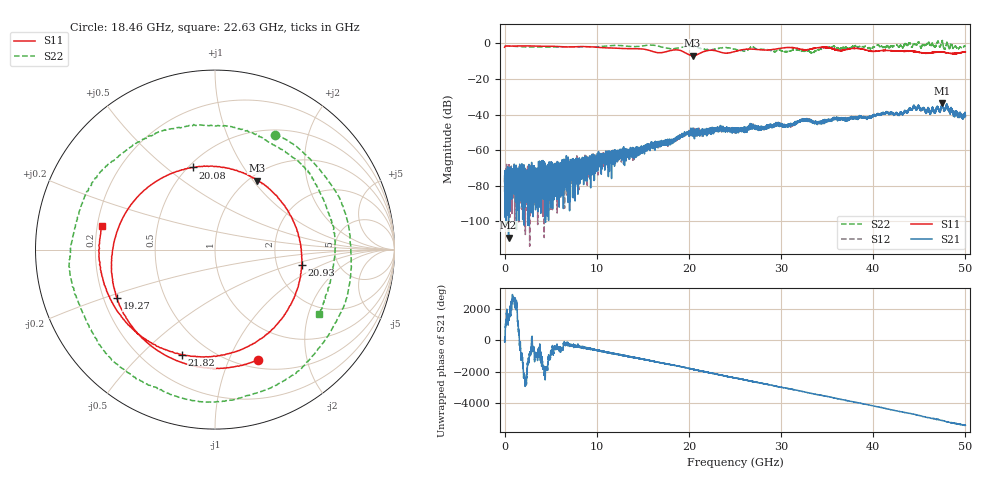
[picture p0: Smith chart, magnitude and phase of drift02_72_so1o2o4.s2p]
!Created with skrf (http://scikit-rf.org).
# Hz S RI R 50.0
!freq ReS11 ImS11 ReS21 ImS21 ReS12 ImS12 ReS22 ImS22
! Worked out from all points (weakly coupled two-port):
!   10000 points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, 5.3 MHz to 50 GHz, reference 50 ohm
!   highest |S21| = -33.53 dB at 47.51 GHz (marker M1); lowest = -109.2 dB at 435.3 MHz (marker M2)
!   lowest |S11| = -6.9 dB at 20.41 GHz (marker M3), VSWR 2.64, Z = 54.2 + j52.3 ohm
!   |S11| at or under -10 dB: nowhere
!   |S22| runs from -5.3 to 1.7 dB; largest |S21 - S12| = 0.0031
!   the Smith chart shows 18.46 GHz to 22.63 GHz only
!   S11 on the Smith chart (normalised r, x): 18.46 GHz: 0.59, -1.28; 19.27 GHz: 0.26, -0.22; 20.08 GHz: 0.53, +0.62; 20.93 GHz: 2.75, -0.63; 21.82 GHz: 0.36, -0.67; 22.63 GHz: 0.22, +0.10
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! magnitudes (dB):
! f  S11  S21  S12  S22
! 5.3 MHz  -2.1  -74.6  -83.4  -1.3
! 435.3 MHz  -1.4  -109.2  -83.5  -1.4
! 4.335 GHz  -1.6  -72.4  -74.1  -2.0
! 5.45 GHz  -1.6  -72.7  -76.7  -2.0
! 6.65 GHz  -1.9  -69.5  -78.7  -1.9
! 8.34 GHz  -1.7  -75.3  -68.5  -1.9
! 16.67 GHz  -5.2  -56.8  -55.7  -1.5
! 18.46 GHz  -3.6  -54.6  -54.4  -2.8
! 19.27 GHz  -4.3  -51.5  -51.4  -2.1
! 20.08 GHz  -6.5  -49.1  -50.5  -1.5
! 20.41 GHz  -6.9  -49.3  -49.1  -1.7
! 20.93 GHz  -6.2  -50.5  -49.3  -2.2
! 21.82 GHz  -4.2  -49.9  -50.6  -3.5
! 22.63 GHz  -3.8  -48.1  -49.1  -3.3
! 25.01 GHz  -4.5  -48.6  -47.7  -3.2
! 26.11 GHz  -3.3  -47.3  -48.2  -4.3
! 26.9 GHz  -3.2  -46.3  -46.3  -1.7
! 33.34 GHz  -3.0  -43.7  -43.4  -5.3
! 34.89 GHz  -2.2  -43.8  -43.9  -2.3
! 41.67 GHz  -4.0  -39.6  -39.3  -2.0
! 47.51 GHz  -4.8  -33.5  -33.3  1.7
! 50 GHz  -4.7  -41.1  -41.1  -1.5
